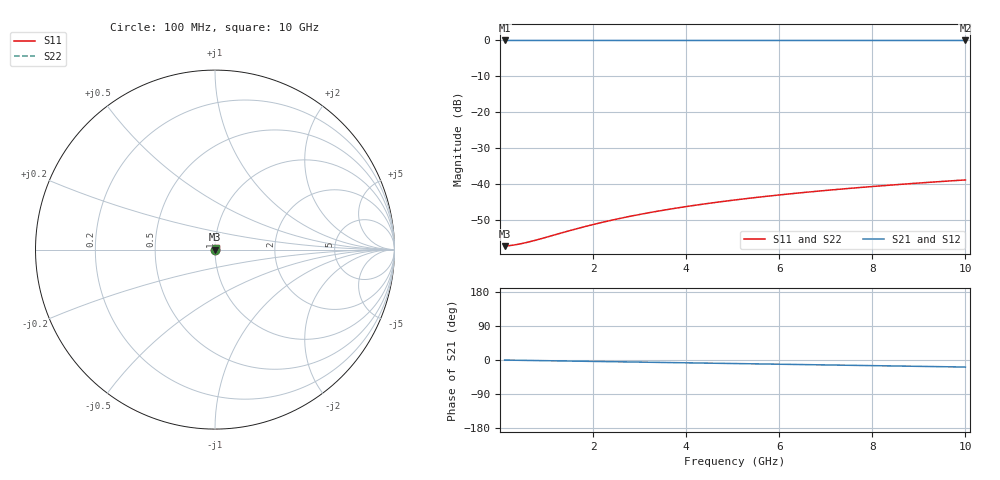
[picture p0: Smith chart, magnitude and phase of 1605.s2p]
# Hz S RI R 50.00
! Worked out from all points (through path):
!   100 points, 100 MHz to 10 GHz, reference 50 ohm
!   highest |S21| = -0.01 dB at 100 MHz (marker M1); lowest = 0.0 dB at 10 GHz (marker M2)
!   group delay of S21, straight-line fit = 5.17 ps
!   lowest |S11| = -57.4 dB at 100 MHz (marker M3), VSWR 1.00, Z = 50.1 + j0.0112 ohm
!   |S11| at or under -10 dB: start of sweep to end of sweep
!   |S22| runs from -57.4 to -38.9 dB; largest |S21 - S12| = 0
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1e8  0.00134 0.000112  0.9986 -0.00323  0.9986 -0.00323  0.00134 0.000112
2e8  0.00135 0.000224  0.9986 -0.00645  0.9986 -0.00645  0.00135 0.000224
3e8  0.00136 0.000336  0.9986 -0.00968  0.9986 -0.00968  0.00136 0.000336
4e8  0.00136 0.000448  0.9985 -0.0129  0.9985 -0.0129  0.00136 0.000448
6e8  0.00138 0.000671  0.9984 -0.0194  0.9984 -0.0194  0.00138 0.000671
8e8  0.00139 0.000894  0.9983 -0.0258  0.9983 -0.0258  0.00139 0.000894
1.5e9  0.00146 0.00167  0.9974 -0.0484  0.9974 -0.0484  0.00146 0.00167
1.8e9  0.0015 0.002  0.9969 -0.0581  0.9969 -0.0581  0.0015 0.002
2.2e9  0.00156 0.00244  0.996 -0.071  0.996 -0.071  0.00156 0.00244
2.6e9  0.00163 0.00288  0.995 -0.0839  0.995 -0.0839  0.00163 0.00288
3e9  0.00171 0.00331  0.9938 -0.0967  0.9938 -0.0967  0.00171 0.00331
3.4e9  0.00181 0.00374  0.9925 -0.1096  0.9925 -0.1096  0.00181 0.00374
3.8e9  0.00191 0.00417  0.991 -0.1225  0.991 -0.1225  0.00191 0.00417
4.2e9  0.00203 0.00459  0.9893 -0.1353  0.9893 -0.1353  0.00203 0.00459
4.6e9  0.00215 0.00501  0.9874 -0.1481  0.9874 -0.1481  0.00215 0.00501
5.1e9  0.00232 0.00553  0.9849 -0.1641  0.9849 -0.1641  0.00232 0.00553
5.9e9  0.00264 0.00634  0.9802 -0.1896  0.9802 -0.1896  0.00264 0.00634
6.7e9  0.00299 0.00714  0.9749 -0.2151  0.9749 -0.2151  0.00299 0.00714
7.5e9  0.00339 0.00792  0.969 -0.2404  0.969 -0.2404  0.00339 0.00792
8.4e9  0.00388 0.00876  0.9615 -0.2687  0.9615 -0.2687  0.00388 0.00876
9.2e9  0.00436 0.0095  0.9541 -0.2937  0.9541 -0.2937  0.00436 0.0095
1e10  0.00488 0.0102  0.9461 -0.3185  0.9461 -0.3185  0.00488 0.0102
